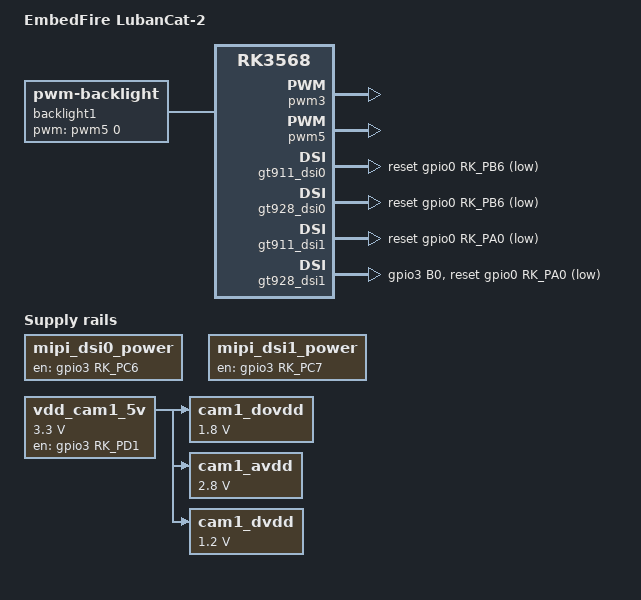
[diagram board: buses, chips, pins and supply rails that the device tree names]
// SPDX-License-Identifier: (GPL-2.0+ OR MIT)
/*
 * Copyright (c) 2020 Rockchip Electronics Co., Ltd.
 *
 */

#include "rk3568-lubancat-2.dtsi"
// 双摄像头
#include "rk3568-lubancat-csi2-double.dtsi"
#include "rk3568-lubancat-dsi.dtsi"

// MIPI-DSI屏幕
// MIPI-DSI0
// #include "rk3568-lubancat-2-v2-dsi0-in-vp1-600p.dtsi"  //野火7寸屏幕
// #include "rk3568-lubancat-2-v2-dsi0-in-vp1-800p.dtsi"  //野火10寸屏幕
// #include "rk3568-lubancat-2-v2-dsi0-in-vp1-1080p.dtsi"  //野火5寸屏幕

// MIPI-DSI1
// #include "rk3568-lubancat-2-v2-dsi0-in-vp1-600p.dtsi" //野火7寸屏幕
// #include "rk3568-lubancat-2-v2-dsi0-in-vp1-800p.dtsi"  //野火10寸屏幕
// #include "rk3568-lubancat-2-v2-dsi0-in-vp1-1080p.dtsi"  // 野火5寸屏幕
/* 注意：
V2版仅支持双屏，启用MIPI-DSI1时，HDMI会默认禁掉。
如果需要MIPI-DSI+HDMI显示，
请禁掉MIPI-DSI1相关引用dtsi，只开MIPI-DSI0。
*/

/ {
	model = "EmbedFire LubanCat-2";
	compatible = "embedfire,lubancat-2-v2", "rockchip,rk3568";

	mipi_dsi0_power: mipi-dsi0-power-regulator {
		compatible = "regulator-fixed";
		enable-active-high;
		gpio = <&gpio3 RK_PC6 GPIO_ACTIVE_HIGH>;
		pinctrl-names = "default";
		pinctrl-0 = <&mipi_dsi0_pwr_en>;
		regulator-name = "mipi_dsi0_power";
		regulator-always-on;
	};

	mipi_dsi1_power: mipi-dsi1-power-regulator {
		compatible = "regulator-fixed";
		enable-active-high;
		gpio = <&gpio3 RK_PC7 GPIO_ACTIVE_HIGH>;
		pinctrl-names = "default";
		pinctrl-0 = <&mipi_dsi1_pwr_en>;
		regulator-name = "mipi_dsi1_power";
		regulator-always-on;
	};

	vdd_cam1_5v: vdd-cam1-5v-regulator {
		compatible = "regulator-fixed";
		regulator-name = "vdd_cam1_5v";
		regulator-min-microvolt = <3300000>;
		regulator-max-microvolt = <3300000>;
		gpio = <&gpio3 RK_PD1 GPIO_ACTIVE_HIGH>;
		pinctrl-names = "default";
		pinctrl-0 = <&cam1_pwr_en>;
		enable-active-high;
		regulator-always-on;
	};

	cam1_dovdd: cam1-dovdd {
		compatible = "regulator-fixed";
		regulator-name = "cam1_dovdd";
		regulator-always-on;
		regulator-boot-on;
		regulator-min-microvolt = <1800000>;
		regulator-max-microvolt = <1800000>;
		vin-supply = <&vdd_cam1_5v>;
	};

	cam1_avdd: cam1-avdd {
		compatible = "regulator-fixed";
		regulator-name = "cam1_avdd";
		regulator-always-on;
		regulator-boot-on;
		regulator-min-microvolt = <2800000>;
		regulator-max-microvolt = <2800000>;
		vin-supply = <&vdd_cam1_5v>;
	};

	cam1_dvdd: cam1-dvdd {
		compatible = "regulator-fixed";
		regulator-name = "cam1_dvdd";
		regulator-always-on;
		regulator-boot-on;
		regulator-min-microvolt = <1200000>;
		regulator-max-microvolt = <1200000>;
		vin-supply = <&vdd_cam1_5v>;
	};

	backlight1: backlight1 {
		status = "okay";
		compatible = "pwm-backlight";
		pwms = <&pwm5 0 50000 0>;
		brightness-levels = <
			 95  95  95  95  95  95  95  95
			 95  95  95  95  95  95  95  95
			 95  95  95  95  95  95  95  95
			 95  95  95  95  95  95  95  95
			 95  95  95  95  95  95  95  95
			 95  95  95  95  95  95  95  95
			 95  95  95  95  95  95  95  95
			 95  95  95  95  95  95  95  95
			 95  95  95  95  95  95  95  95
			 95  95  95  95  95  95  95  95
			 95  95  95  95  95  95  95  95
			 88  89  90  91  92  93  94  95
			 96  97  98  99 100 101 102 103
			104 105 106 107 108 109 110 111
			112 113 114 115 116 117 118 119
			120 121 122 123 124 125 126 127
			128 129 130 131 132 133 134 135
			136 137 138 139 140 141 142 143
			144 145 146 147 148 149 150 151
			152 153 154 155 156 157 158 159
			160 161 162 163 164 165 166 167
			168 169 170 171 172 173 174 175
			176 177 178 179 180 181 182 183
			184 185 186 187 188 189 190 191
			192 193 194 195 196 197 198 199
			200 201 202 203 204 205 206 207
			208 209 210 211 212 213 214 215
			216 217 218 219 220 221 222 223
			224 225 226 227 228 229 230 231
			232 233 234 235 236 237 238 239
			240 241 242 243 244 245 246 247
			248 249 250 251 252 253 254 255
		>;
		default-brightness-level = <200>;
	};
};

&pwm3 {
	status = "okay";

	compatible = "rockchip,remotectl-pwm";
	interrupts = <GIC_SPI 82 IRQ_TYPE_LEVEL_HIGH>;
	remote_pwm_id = <3>;
	handle_cpu_id = <1>;
	remote_support_psci = <0>;
	pinctrl-names = "default";
	pinctrl-0 = <&pwm3_pins>;

	ir_key_lubancat{
		rockchip,usercode = <0x909>;
		rockchip,key_table =
			<0xf4   KEY_POWER>,
			<0xe6   KEY_SLEEP>,
			<0xe4   KEY_WAKEUP>,
			<0xed   KEY_VOLUMEUP>,
			<0xec   KEY_VOLUMEDOWN>,
			<0xef   KEY_UP>,
			<0xee   KEY_DOWN>;
	};

	ir_key1 {
		rockchip,usercode = <0x4040>;
		rockchip,key_table =
			<0xf2	KEY_REPLY>,
			<0xba	KEY_BACK>,
			<0xf4	KEY_UP>,
			<0xf1	KEY_DOWN>,
			<0xef	KEY_LEFT>,
			<0xee	KEY_RIGHT>,
			<0xbd	KEY_HOME>,
			<0xea	KEY_VOLUMEUP>,
			<0xe3	KEY_VOLUMEDOWN>,
			<0xe2	KEY_SEARCH>,
			<0xb2	KEY_POWER>,
			<0xbc	KEY_MUTE>,
			<0xec	KEY_MENU>,
			<0xbf	0x190>,
			<0xe0	0x191>,
			<0xe1	0x192>,
			<0xe9	183>,
			<0xe6	248>,
			<0xe8	185>,
			<0xe7	186>,
			<0xf0	388>,
			<0xbe	0x175>;
	};

	ir_key2 {
		rockchip,usercode = <0xff00>;
		rockchip,key_table =
			<0xf9	KEY_HOME>,
			<0xbf	KEY_BACK>,
			<0xfb	KEY_MENU>,
			<0xaa	KEY_REPLY>,
			<0xb9	KEY_UP>,
			<0xe9	KEY_DOWN>,
			<0xb8	KEY_LEFT>,
			<0xea	KEY_RIGHT>,
			<0xeb	KEY_VOLUMEDOWN>,
			<0xef	KEY_VOLUMEUP>,
			<0xf7	KEY_MUTE>,
			<0xe7	KEY_POWER>,
			<0xfc	KEY_POWER>,
			<0xa9	KEY_VOLUMEDOWN>,
			<0xa8	KEY_VOLUMEDOWN>,
			<0xe0	KEY_VOLUMEDOWN>,
			<0xa5	KEY_VOLUMEDOWN>,
			<0xab	183>,
			<0xb7	388>,
			<0xe8	388>,
			<0xf8	184>,
			<0xaf	185>,
			<0xed	KEY_VOLUMEDOWN>,
			<0xee	186>,
			<0xb3	KEY_VOLUMEDOWN>,
			<0xf1	KEY_VOLUMEDOWN>,
			<0xf2	KEY_VOLUMEDOWN>,
			<0xf3	KEY_SEARCH>,
			<0xb4	KEY_VOLUMEDOWN>,
			<0xbe	KEY_SEARCH>;
	};

	ir_key3 {
		rockchip,usercode = <0x1dcc>;
		rockchip,key_table =
			<0xee	KEY_REPLY>,
			<0xf0	KEY_BACK>,
			<0xf8	KEY_UP>,
			<0xbb	KEY_DOWN>,
			<0xef	KEY_LEFT>,
			<0xed	KEY_RIGHT>,
			<0xfc	KEY_HOME>,
			<0xf1	KEY_VOLUMEUP>,
			<0xfd	KEY_VOLUMEDOWN>,
			<0xb7	KEY_SEARCH>,
			<0xff	KEY_POWER>,
			<0xf3	KEY_MUTE>,
			<0xbf	KEY_MENU>,
			<0xf9	0x191>,
			<0xf5	0x192>,
			<0xb3	388>,
			<0xbe	KEY_1>,
			<0xba	KEY_2>,
			<0xb2	KEY_3>,
			<0xbd	KEY_4>,
			<0xf9	KEY_5>,
			<0xb1	KEY_6>,
			<0xfc	KEY_7>,
			<0xf8	KEY_8>,
			<0xb0	KEY_9>,
			<0xb6	KEY_0>,
			<0xb5	KEY_BACKSPACE>;
	};
};

&pwm5 {
	status = "okay";
};

&rockchip_suspend {
	status = "okay";
};

&gmac0 {
	tx_delay = <0x23>;
	rx_delay = <0x07>;
};	

&gmac1 {
	tx_delay = <0x22>;
	rx_delay = <0x07>;
};	

&vdd_cam_5v {
	gpio = <&gpio3 RK_PD0 GPIO_ACTIVE_HIGH>;
	pinctrl-names = "default";
	pinctrl-0 = <&cam_pwr_en>;
};

&cam_pwr_en {
	rockchip,pins = <3 RK_PD0 RK_FUNC_GPIO &pcfg_pull_none>;
};

//cam0-gpio-setting
&ov5647 {
    pwdn-gpios = <&gpio0 RK_PC0 GPIO_ACTIVE_LOW>;
};

&ov5648 {
	pwdn-gpios = <&gpio0 RK_PC0 GPIO_ACTIVE_HIGH>;
	reset-gpios = <&gpio0 RK_PC1 GPIO_ACTIVE_LOW>;
};

&ov8858 {
	pwdn-gpios = <&gpio0 RK_PC0 GPIO_ACTIVE_HIGH>;
	reset-gpios = <&gpio0 RK_PC1 GPIO_ACTIVE_HIGH>;
};

&sc132gs {
	pwdn-gpios = <&gpio0 RK_PC0 GPIO_ACTIVE_HIGH>;
	reset-gpios = <&gpio0 RK_PC1 GPIO_ACTIVE_HIGH>;
};

//cam1-gpio-setting
&cam1_ov5647 {
    pwdn-gpios = <&gpio3 RK_PA3 GPIO_ACTIVE_LOW>;
};

&cam1_ov5648 {
	pwdn-gpios = <&gpio3 RK_PA3 GPIO_ACTIVE_HIGH>;
	reset-gpios = <&gpio3 RK_PA4 GPIO_ACTIVE_LOW>;
};

&cam1_ov8858 {
	pwdn-gpios = <&gpio3 RK_PA3 GPIO_ACTIVE_HIGH>;
	reset-gpios = <&gpio3 RK_PA4 GPIO_ACTIVE_HIGH>;
};

&cam1_sc132gs {
	pwdn-gpios = <&gpio3 RK_PA3 GPIO_ACTIVE_HIGH>;
	reset-gpios = <&gpio3 RK_PA4 GPIO_ACTIVE_HIGH>;
};

// mipi dsi0 gpio set
&dsi0_panel {
	backlight = <&backlight>;
	reset-gpios = <&gpio0 RK_PC5 GPIO_ACTIVE_LOW>;
};

&gt911_dsi0 {
	interrupt-parent = <&gpio0>;
	interrupts = <RK_PB5 IRQ_TYPE_LEVEL_LOW>;
	reset-gpios = <&gpio0 RK_PB6 GPIO_ACTIVE_LOW>;
	irq-gpios = <&gpio0 RK_PB5 GPIO_ACTIVE_HIGH>;
};

&gt928_dsi0 {
	interrupt-parent = <&gpio0>;
	interrupts = <RK_PB5 IRQ_TYPE_LEVEL_LOW>;
	reset-gpios = <&gpio0 RK_PB6 GPIO_ACTIVE_LOW>;
	irq-gpios = <&gpio0 RK_PB5 GPIO_ACTIVE_HIGH>;
};

// mipi dsi1 gpio set
&dsi1_panel {
	reset-gpios = <&gpio0 RK_PA6 GPIO_ACTIVE_LOW>;
};

&gt911_dsi1 {
	interrupt-parent = <&gpio3>;
	interrupts = <RK_PB0 IRQ_TYPE_LEVEL_LOW>;
	reset-gpios = <&gpio0 RK_PA0 GPIO_ACTIVE_LOW>;
	irq-gpios = <&gpio3 RK_PB0 GPIO_ACTIVE_HIGH>;
};

&gt928_dsi1 {
	interrupt-parent = <&gpio3>;
	interrupts = <RK_PB0 IRQ_TYPE_LEVEL_LOW>;
	reset-gpios = <&gpio0 RK_PA0 GPIO_ACTIVE_LOW>;
	irq-gpios = <&gpio3 RK_PB0 GPIO_ACTIVE_HIGH>;
	pinctrl-names = "default";
	pinctrl-0 = <&mipi_dsi1_irq>;
};

&pinctrl {
	lcd {
		mipi_dsi0_pwr_en: mipi-dsi0-pwr-en {
			rockchip,pins = <3 RK_PC6 RK_FUNC_GPIO &pcfg_pull_none>;
		};

		mipi_dsi1_pwr_en: mipi-dsi1-pwr-en {
			rockchip,pins = <3 RK_PC7 RK_FUNC_GPIO &pcfg_pull_none>;
		};

		mipi_dsi1_irq: mipi-dsi1-irq {
			rockchip,pins = <3 RK_PB0 RK_FUNC_GPIO &pcfg_pull_up>;
		};
	};

	cam {
		cam1_pwr_en: cam1_pwr_en {
			rockchip,pins = <3 RK_PD1 RK_FUNC_GPIO &pcfg_pull_none>;
		};
	};
};
